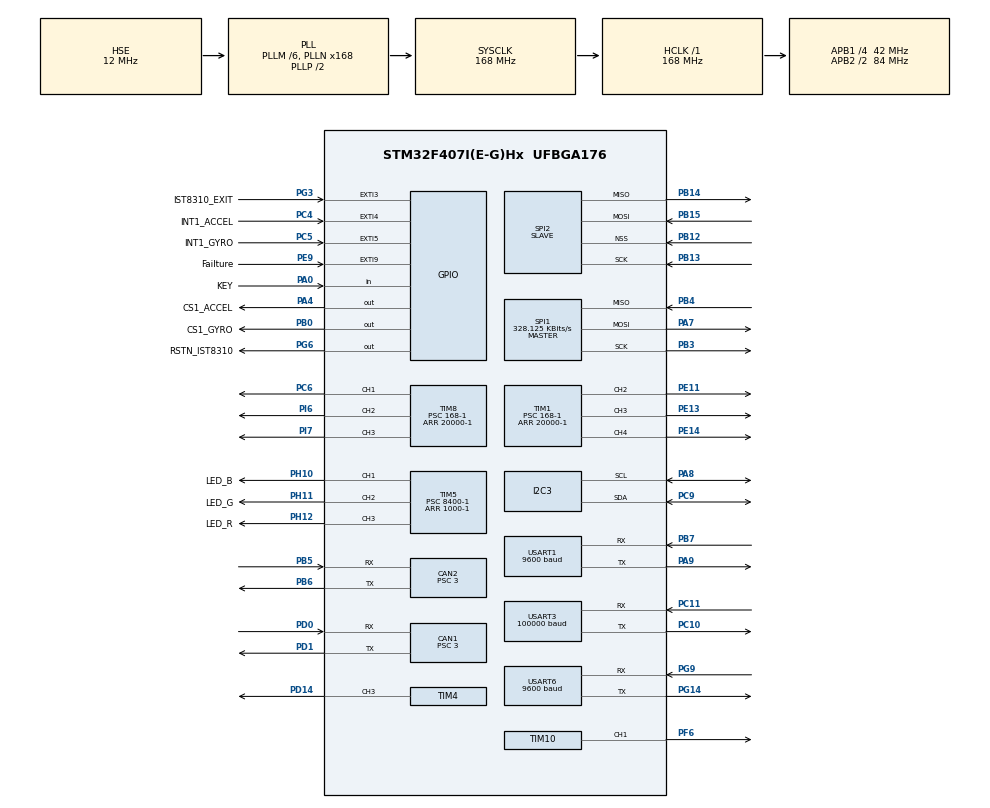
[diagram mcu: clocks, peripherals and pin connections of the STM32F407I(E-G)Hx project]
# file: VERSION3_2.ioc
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CAN1.BS1=CAN_BS1_10TQ
CAN1.BS2=CAN_BS2_3TQ
CAN1.CalculateBaudRate=1000000
CAN1.CalculateTimeBit=1000
CAN1.CalculateTimeQuantum=71.42857142857143
CAN1.Prescaler=3
CAN2.BS1=CAN_BS1_10TQ
CAN2.BS2=CAN_BS2_3TQ
CAN2.CalculateBaudRate=1000000
CAN2.CalculateTimeBit=1000
CAN2.CalculateTimeQuantum=71.42857142857143
CAN2.Prescaler=3
Dma.Request0=SPI1_RX
Dma.Request1=SPI1_TX
Dma.Request2=USART6_RX
Dma.Request3=USART6_TX
Dma.Request4=USART1_RX
Dma.Request5=USART1_TX
Dma.Request6=USART3_RX
Dma.SPI1_RX.0.Direction=DMA_PERIPH_TO_MEMORY
Dma.SPI1_RX.0.FIFOMode=DMA_FIFOMODE_DISABLE
Dma.SPI1_RX.0.Instance=DMA2_Stream2
Dma.SPI1_RX.0.MemDataAlignment=DMA_MDATAALIGN_BYTE
Dma.SPI1_RX.0.MemInc=DMA_MINC_ENABLE
Dma.SPI1_RX.0.Mode=DMA_NORMAL
Dma.SPI1_RX.0.PeriphDataAlignment=DMA_PDATAALIGN_BYTE
Dma.SPI1_RX.0.PeriphInc=DMA_PINC_DISABLE
Dma.SPI1_RX.0.Priority=DMA_PRIORITY_VERY_HIGH
Dma.SPI1_TX.1.Direction=DMA_MEMORY_TO_PERIPH
Dma.SPI1_TX.1.FIFOMode=DMA_FIFOMODE_DISABLE
Dma.SPI1_TX.1.Instance=DMA2_Stream3
Dma.SPI1_TX.1.MemDataAlignment=DMA_MDATAALIGN_BYTE
Dma.SPI1_TX.1.MemInc=DMA_MINC_ENABLE
Dma.SPI1_TX.1.Mode=DMA_NORMAL
Dma.SPI1_TX.1.PeriphDataAlignment=DMA_PDATAALIGN_BYTE
Dma.SPI1_TX.1.PeriphInc=DMA_PINC_DISABLE
Dma.SPI1_TX.1.Priority=DMA_PRIORITY_HIGH
Dma.USART1_RX.4.Direction=DMA_PERIPH_TO_MEMORY
Dma.USART1_RX.4.FIFOMode=DMA_FIFOMODE_DISABLE
Dma.USART1_RX.4.Instance=DMA2_Stream5
Dma.USART1_RX.4.MemDataAlignment=DMA_MDATAALIGN_BYTE
Dma.USART1_RX.4.MemInc=DMA_MINC_ENABLE
Dma.USART1_RX.4.Mode=DMA_NORMAL
Dma.USART1_RX.4.PeriphDataAlignment=DMA_PDATAALIGN_BYTE
Dma.USART1_RX.4.PeriphInc=DMA_PINC_DISABLE
Dma.USART1_RX.4.Priority=DMA_PRIORITY_LOW
Dma.USART1_TX.5.Direction=DMA_MEMORY_TO_PERIPH
Dma.USART1_TX.5.FIFOMode=DMA_FIFOMODE_DISABLE
Dma.USART1_TX.5.Instance=DMA2_Stream7
Dma.USART1_TX.5.MemDataAlignment=DMA_MDATAALIGN_BYTE
Dma.USART1_TX.5.MemInc=DMA_MINC_ENABLE
Dma.USART1_TX.5.Mode=DMA_NORMAL
Dma.USART1_TX.5.PeriphDataAlignment=DMA_PDATAALIGN_BYTE
Dma.USART1_TX.5.PeriphInc=DMA_PINC_DISABLE
Dma.USART1_TX.5.Priority=DMA_PRIORITY_LOW
Dma.USART3_RX.6.Direction=DMA_PERIPH_TO_MEMORY
Dma.USART3_RX.6.FIFOMode=DMA_FIFOMODE_DISABLE
Dma.USART3_RX.6.Instance=DMA1_Stream1
Dma.USART3_RX.6.MemDataAlignment=DMA_MDATAALIGN_BYTE
Dma.USART3_RX.6.MemInc=DMA_MINC_ENABLE
Dma.USART3_RX.6.Mode=DMA_NORMAL
Dma.USART3_RX.6.PeriphDataAlignment=DMA_PDATAALIGN_BYTE
Dma.USART3_RX.6.PeriphInc=DMA_PINC_DISABLE
Dma.USART3_RX.6.Priority=DMA_PRIORITY_HIGH
Dma.USART6_RX.2.Direction=DMA_PERIPH_TO_MEMORY
Dma.USART6_RX.2.FIFOMode=DMA_FIFOMODE_DISABLE
Dma.USART6_RX.2.Instance=DMA2_Stream1
Dma.USART6_RX.2.MemDataAlignment=DMA_MDATAALIGN_BYTE
Dma.USART6_RX.2.MemInc=DMA_MINC_ENABLE
Dma.USART6_RX.2.Mode=DMA_NORMAL
Dma.USART6_RX.2.PeriphDataAlignment=DMA_PDATAALIGN_BYTE
Dma.USART6_RX.2.PeriphInc=DMA_PINC_DISABLE
Dma.USART6_RX.2.Priority=DMA_PRIORITY_LOW
Dma.USART6_TX.3.Direction=DMA_MEMORY_TO_PERIPH
Dma.USART6_TX.3.FIFOMode=DMA_FIFOMODE_DISABLE
Dma.USART6_TX.3.Instance=DMA2_Stream6
Dma.USART6_TX.3.MemDataAlignment=DMA_MDATAALIGN_BYTE
Dma.USART6_TX.3.MemInc=DMA_MINC_ENABLE
Dma.USART6_TX.3.Mode=DMA_NORMAL
Dma.USART6_TX.3.PeriphDataAlignment=DMA_PDATAALIGN_BYTE
Dma.USART6_TX.3.PeriphInc=DMA_PINC_DISABLE
Dma.USART6_TX.3.Priority=DMA_PRIORITY_LOW
FREERTOS.INCLUDE_eTaskGetState=1
FREERTOS.INCLUDE_pcTaskGetTaskName=1
FREERTOS.INCLUDE_uxTaskGetStackHighWaterMark=1
FREERTOS.INCLUDE_uxTaskGetStackHighWaterMark2=1
FREERTOS.INCLUDE_vTaskCleanUpResources=1
FREERTOS.INCLUDE_vTaskDelayUntil=1
FREERTOS.INCLUDE_xEventGroupSetBitFromISR=1
FREERTOS.INCLUDE_xQueueGetMutexHolder=1
FREERTOS.INCLUDE_xSemaphoreGetMutexHolder=1
FREERTOS.INCLUDE_xTaskAbortDelay=1
FREERTOS.INCLUDE_xTaskGetCurrentTaskHandle=1
FREERTOS.INCLUDE_xTaskGetHandle=1
FREERTOS.INCLUDE_xTimerPendFunctionCall=1
FREERTOS.Tasks01=test,0,512,test_task,As weak,NULL,Dynamic,NULL,NULL;line_detect,0,512,line_detect_task,As weak,NULL,Dynamic,NULL,NULL;Order,3,512,OrderTask,As weak,NULL,Dynamic,NULL,NULL
FREERTOS.configENABLE_FPU=1
FREERTOS.configTOTAL_HEAP_SIZE=24576
I2C3.I2C_Mode=I2C_Fast
Mcu.Family=STM32F4
Mcu.Name=STM32F407I(E-G)Hx
Mcu.Package=UFBGA176
NVIC.CAN1_RX0_IRQn=true\:5\:0\:true\:false\:true\:true\:true\:true\:true
NVIC.CAN2_RX0_IRQn=true\:5\:0\:false\:false\:true\:true\:true\:true\:true
NVIC.DMA1_Stream1_IRQn=true\:5\:0\:false\:false\:true\:true\:false\:true\:true
NVIC.DMA2_Stream1_IRQn=true\:5\:0\:false\:false\:true\:true\:false\:true\:true
NVIC.DMA2_Stream2_IRQn=true\:5\:0\:true\:false\:false\:true\:false\:true\:true
NVIC.DMA2_Stream3_IRQn=true\:5\:0\:true\:false\:false\:true\:false\:true\:true
NVIC.DMA2_Stream5_IRQn=true\:5\:0\:false\:false\:true\:true\:false\:true\:true
NVIC.DMA2_Stream6_IRQn=true\:5\:0\:false\:false\:true\:true\:false\:true\:true
NVIC.DMA2_Stream7_IRQn=true\:5\:0\:false\:false\:true\:true\:false\:true\:true
NVIC.EXTI3_IRQn=true\:5\:0\:false\:false\:true\:true\:true\:true\:true
NVIC.EXTI4_IRQn=true\:5\:0\:false\:false\:true\:true\:true\:true\:true
NVIC.EXTI9_5_IRQn=true\:5\:0\:false\:false\:true\:true\:true\:true\:true
NVIC.PriorityGroup=NVIC_PRIORITYGROUP_4
NVIC.SPI2_IRQn=true\:5\:0\:false\:false\:true\:true\:true\:true\:true
NVIC.TIM6_DAC_IRQn=true\:15\:0\:false\:false\:true\:false\:false\:true\:true
NVIC.TIM7_IRQn=true\:5\:0\:false\:false\:true\:true\:true\:true\:true
NVIC.TimeBase=TIM6_DAC_IRQn
NVIC.TimeBaseIP=TIM6
NVIC.USART1_IRQn=true\:5\:0\:false\:false\:true\:true\:true\:true\:true
NVIC.USART3_IRQn=true\:5\:0\:false\:false\:true\:true\:true\:true\:true
NVIC.USART6_IRQn=true\:5\:0\:false\:false\:true\:true\:true\:true\:true
PA0-WKUP.GPIO_Label=KEY
PA0-WKUP.GPIO_PuPd=GPIO_PULLUP
PA0-WKUP.Signal=GPIO_Input
PA13.Mode=Serial_Wire
PA13.Signal=SYS_JTMS-SWDIO
PA14.Mode=Serial_Wire
PA14.Signal=SYS_JTCK-SWCLK
PA4.GPIO_Label=CS1_ACCEL
PA4.GPIO_PuPd=GPIO_PULLUP
PA4.GPIO_Speed=GPIO_SPEED_FREQ_HIGH
PA4.PinState=GPIO_PIN_SET
PA4.Signal=GPIO_Output
PA7.GPIO_PuPd=GPIO_PULLUP
PA7.Mode=Full_Duplex_Master
PA7.Signal=SPI1_MOSI
PA8.GPIO_Pu=GPIO_PULLUP
PA8.Mode=I2C
PA8.Signal=I2C3_SCL
PA9.Mode=Asynchronous
PA9.Signal=USART1_TX
PB0.GPIO_Label=CS1_GYRO
PB0.GPIO_PuPd=GPIO_PULLUP
PB0.GPIO_Speed=GPIO_SPEED_FREQ_HIGH
PB0.PinState=GPIO_PIN_SET
PB0.Signal=GPIO_Output
PB12.Mode=NSS_Signal_Hard_Input
PB12.Signal=SPI2_NSS
PB13.GPIO_PuPd=GPIO_PULLUP
PB13.Mode=Full_Duplex_Slave
PB13.Signal=SPI2_SCK
PB14.GPIO_PuPd=GPIO_PULLUP
PB14.Mode=Full_Duplex_Slave
PB14.Signal=SPI2_MISO
PB15.GPIO_PuPd=GPIO_PULLUP
PB15.Mode=Full_Duplex_Slave
PB15.Signal=SPI2_MOSI
PB3.GPIO_PuPd=GPIO_PULLUP
PB3.Mode=Full_Duplex_Master
PB3.Signal=SPI1_SCK
PB4.GPIO_PuPd=GPIO_PULLUP
PB4.Mode=Full_Duplex_Master
PB4.Signal=SPI1_MISO
PB5.Mode=CAN_Activate
PB5.Signal=CAN2_RX
PB6.Mode=CAN_Activate
PB6.Signal=CAN2_TX
PB7.Mode=Asynchronous
PB7.Signal=USART1_RX
PC10.Mode=Asynchronous
PC10.Signal=USART3_TX
PC11.Mode=Asynchronous
PC11.Signal=USART3_RX
PC4.GPIO_Label=INT1_ACCEL
PC4.GPIO_ModeDefaultEXTI=GPIO_MODE_IT_FALLING
PC4.GPIO_PuPd=GPIO_PULLUP
PC4.Signal=GPXTI4
PC5.GPIO_Label=INT1_GYRO
PC5.GPIO_ModeDefaultEXTI=GPIO_MODE_IT_FALLING
PC5.GPIO_PuPd=GPIO_PULLUP
PC5.Signal=GPXTI5
PC6.Signal=S_TIM8_CH1
PC9.GPIO_Pu=GPIO_PULLUP
PC9.Mode=I2C
PC9.Signal=I2C3_SDA
PD0.Mode=CAN_Activate
PD0.Signal=CAN1_RX
PD1.Mode=CAN_Activate
PD1.Signal=CAN1_TX
PD14.Signal=S_TIM4_CH3
PE11.Signal=S_TIM1_CH2
PE13.Signal=S_TIM1_CH3
PE14.Signal=S_TIM1_CH4
PE9.GPIO_Label=Failture
PE9.GPIO_ModeDefaultEXTI=GPIO_MODE_IT_FALLING
PE9.GPIO_PuPd=GPIO_PULLUP
PE9.Signal=GPXTI9
PF6.GPIO_PuPd=GPIO_PULLUP
PF6.GPIO_Speed=GPIO_SPEED_FREQ_HIGH
PF6.Signal=S_TIM10_CH1
PG14.Mode=Asynchronous
PG14.Signal=USART6_TX
PG3.GPIO_Label=IST8310_EXIT
PG3.GPIO_ModeDefaultEXTI=GPIO_MODE_IT_RISING
PG3.GPIO_PuPd=GPIO_PULLDOWN
PG3.Signal=GPXTI3
PG6.GPIO_Label=RSTN_IST8310
PG6.GPIO_PuPd=GPIO_PULLUP
PG6.GPIO_Speed=GPIO_SPEED_FREQ_MEDIUM
PG6.PinState=GPIO_PIN_SET
PG6.Signal=GPIO_Output
PG9.Mode=Asynchronous
PG9.Signal=USART6_RX
PH0-OSC_IN.Mode=HSE-External-Oscillator
PH0-OSC_IN.Signal=RCC_OSC_IN
PH1-OSC_OUT.Mode=HSE-External-Oscillator
PH1-OSC_OUT.Signal=RCC_OSC_OUT
PH10.GPIO_Label=LED_B
PH10.Signal=S_TIM5_CH1
PH11.GPIO_Label=LED_G
PH11.GPIO_PuPd=GPIO_PULLUP
PH11.GPIO_Speed=GPIO_SPEED_FREQ_HIGH
PH11.Signal=S_TIM5_CH2
PH12.GPIO_Label=LED_R
PH12.GPIO_PuPd=GPIO_PULLUP
PH12.GPIO_Speed=GPIO_SPEED_FREQ_HIGH
PH12.Signal=S_TIM5_CH3
PI6.GPIO_PuPd=GPIO_PULLDOWN
PI6.Signal=S_TIM8_CH2
PI7.GPIO_PuPd=GPIO_PULLDOWN
PI7.Signal=S_TIM8_CH3
ProjectManager.HeapSize=0x2000
ProjectManager.StackSize=0x2000
ProjectManager.TargetToolchain=MDK-ARM V5.32
RCC.48MHZClocksFreq_Value=48000000
RCC.AHBFreq_Value=168000000
RCC.APB1CLKDivider=RCC_HCLK_DIV4
RCC.APB1Freq_Value=42000000
RCC.APB1TimFreq_Value=84000000
RCC.APB2CLKDivider=RCC_HCLK_DIV2
RCC.APB2Freq_Value=84000000
RCC.APB2TimFreq_Value=168000000
RCC.CortexFreq_Value=168000000
RCC.HCLKFreq_Value=168000000
RCC.HSE_VALUE=12000000
RCC.HSI_VALUE=16000000
RCC.LSE_VALUE=32768
RCC.PLLM=6
RCC.PLLN=168
RCC.PLLQ=7
RCC.PLLSourceVirtual=RCC_PLLSOURCE_HSE
RCC.RCC_RTC_Clock_SourceVirtual=RCC_RTCCLKSOURCE_HSE_DIV30
RCC.RCC_RTC_Clock_Source_FROM_HSE=RCC_RTCCLKSOURCE_HSE_DIV30
RCC.SYSCLKFreq_VALUE=168000000
RCC.SYSCLKSource=RCC_SYSCLKSOURCE_PLLCLK
RCC.VCOOutputFreq_Value=336000000
SH.S_TIM10_CH1.0=TIM10_CH1,PWM Generation1 CH1
SH.S_TIM1_CH2.0=TIM1_CH2,PWM Generation2 CH2
SH.S_TIM1_CH3.0=TIM1_CH3,PWM Generation3 CH3
SH.S_TIM1_CH4.0=TIM1_CH4,PWM Generation4 CH4
SH.S_TIM4_CH3.0=TIM4_CH3,PWM Generation3 CH3
SH.S_TIM5_CH1.0=TIM5_CH1,PWM Generation1 CH1
SH.S_TIM5_CH2.0=TIM5_CH2,PWM Generation2 CH2
SH.S_TIM5_CH3.0=TIM5_CH3,PWM Generation3 CH3
SH.S_TIM8_CH1.0=TIM8_CH1,PWM Generation1 CH1
SH.S_TIM8_CH2.0=TIM8_CH2,PWM Generation2 CH2
SH.S_TIM8_CH3.0=TIM8_CH3,PWM Generation3 CH3
SPI1.BaudRatePrescaler=SPI_BAUDRATEPRESCALER_256
SPI1.CLKPhase=SPI_PHASE_2EDGE
SPI1.CLKPolarity=SPI_POLARITY_HIGH
SPI1.CalculateBaudRate=328.125 KBits/s
SPI1.Direction=SPI_DIRECTION_2LINES
SPI1.Mode=SPI_MODE_MASTER
SPI1.VirtualType=VM_MASTER
SPI2.Direction=SPI_DIRECTION_2LINES
SPI2.Mode=SPI_MODE_SLAVE
SPI2.VirtualNSS=VM_NSSHARD
SPI2.VirtualType=VM_SLAVE
TIM1.AutoReloadPreload=TIM_AUTORELOAD_PRELOAD_ENABLE
TIM1.Channel-PWM\ Generation2\ CH2=TIM_CHANNEL_2
TIM1.Channel-PWM\ Generation3\ CH3=TIM_CHANNEL_3
TIM1.Channel-PWM\ Generation4\ CH4=TIM_CHANNEL_4
TIM1.OCFastMode_PWM-PWM\ Generation3\ CH3=TIM_OCFAST_ENABLE
TIM1.OCMode_PWM-PWM\ Generation3\ CH3=TIM_OCMODE_PWM1
TIM1.Period=20000-1
TIM1.Prescaler=168-1
TIM1.Pulse-PWM\ Generation2\ CH2=1300
TIM1.Pulse-PWM\ Generation3\ CH3=1500
TIM1.Pulse-PWM\ Generation4\ CH4=2500
TIM10.Channel=TIM_CHANNEL_1
TIM10.Period=4999
TIM4.Channel-PWM\ Generation3\ CH3=TIM_CHANNEL_3
TIM5.Channel-PWM\ Generation1\ CH1=TIM_CHANNEL_1
TIM5.Channel-PWM\ Generation2\ CH2=TIM_CHANNEL_2
TIM5.Channel-PWM\ Generation3\ CH3=TIM_CHANNEL_3
TIM5.Period=1000-1
TIM5.Prescaler=8400-1
TIM7.AutoReloadPreload=TIM_AUTORELOAD_PRELOAD_ENABLE
TIM7.Period=2500-1
TIM7.Prescaler=84-1
TIM8.AutoReloadPreload=TIM_AUTORELOAD_PRELOAD_ENABLE
TIM8.Channel-PWM\ Generation1\ CH1=TIM_CHANNEL_1
TIM8.Channel-PWM\ Generation2\ CH2=TIM_CHANNEL_2
TIM8.Channel-PWM\ Generation3\ CH3=TIM_CHANNEL_3
TIM8.Period=20000-1
TIM8.Prescaler=168-1
TIM8.Pulse-PWM\ Generation2\ CH2=500
TIM8.Pulse-PWM\ Generation3\ CH3=2570
USART1.BaudRate=9600
USART1.VirtualMode=VM_ASYNC
USART3.BaudRate=100000
USART3.Parity=PARITY_EVEN
USART3.StopBits=STOPBITS_2
USART3.VirtualMode=VM_ASYNC
USART3.WordLength=WORDLENGTH_9B
USART6.BaudRate=9600
USART6.VirtualMode=VM_ASYNC
VP_CRC_VS_CRC.Mode=CRC_Activate
VP_FREERTOS_VS_CMSIS_V1.Mode=CMSIS_V1
VP_RNG_VS_RNG.Mode=RNG_Activate
VP_SYS_VS_tim6.Mode=TIM6
VP_TIM10_VS_ClockSourceINT.Mode=Enable_Timer
VP_TIM1_VS_ClockSourceINT.Mode=Internal
VP_TIM4_VS_ClockSourceINT.Mode=Internal
VP_TIM5_VS_ClockSourceINT.Mode=Internal
VP_TIM7_VS_ClockSourceINT.Mode=Enable_Timer
VP_TIM8_VS_ClockSourceINT.Mode=Internal
board=custom

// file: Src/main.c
/* USER CODE BEGIN Header */
/**
  ******************************************************************************
  * @file           : main.c
  * @brief          : Main program body
  ******************************************************************************
  * @attention
  *
  * Copyright (c) 2022 STMicroelectronics.
  * All rights reserved.
  *
  * This software is licensed under terms that can be found in the LICENSE file
  * in the root directory of this software component.
  * If no LICENSE file comes with this software, it is provided AS-IS.
  *
  ******************************************************************************
  */
/* USER CODE END Header */
#include "main.h"
#include "cmsis_os.h"
#include "can.h"
#include "crc.h"
#include "dma.h"
#include "i2c.h"
#include "rng.h"
#include "spi.h"
#include "tim.h"
#include "usart.h"
#include "gpio.h"

/* USER CODE BEGIN Includes */
#include "bsp_delay.h"
#include "bsp_can.h"
#include "Callback.h"
#include "pid.h"
#include "callback.h"
#include "door_control.h"
#include "move_func_task.h"
#include "openmv_communicate.h"

/* USER CODE END Includes */

/* USER CODE BEGIN PD */
#define sbus_using
/* USER CODE END PD */

void SystemClock_Config(void);
void MX_FREERTOS_Init(void);

int main(void)
{

  /* MCU Configuration--------------------------------------------------------*/

  /* Reset of all peripherals, Initializes the Flash interface and the Systick. */
  HAL_Init();

  /* Configure the system clock */
  SystemClock_Config();

  /* Initialize all configured peripherals */
  MX_GPIO_Init();
  MX_DMA_Init();
  MX_CAN1_Init();
  MX_SPI1_Init();
  MX_TIM5_Init();
  MX_CRC_Init();
  MX_RNG_Init();
  MX_TIM10_Init();
  MX_USART1_UART_Init();
  MX_TIM8_Init();
  MX_I2C3_Init();
  MX_SPI2_Init();
  MX_USART6_UART_Init();
  MX_TIM1_Init();
  MX_TIM4_Init();
  MX_USART3_UART_Init();
  MX_TIM7_Init();
  MX_CAN2_Init();
  /* USER CODE BEGIN 2 */
	HAL_TIM_Base_Start(&htim1);//servo 1-4
  HAL_TIM_PWM_Start(&htim1,TIM_CHANNEL_1);
	HAL_TIM_PWM_Start(&htim1,TIM_CHANNEL_2);
	HAL_TIM_PWM_Start(&htim1,TIM_CHANNEL_3);
  HAL_TIM_PWM_Start(&htim1,TIM_CHANNEL_4);

	HAL_TIM_Base_Start(&htim4);//Buzzer
	HAL_TIM_PWM_Start(&htim4,TIM_CHANNEL_3);

	HAL_TIM_Base_Start(&htim5);//LED PWM OUTPUT
	HAL_TIM_PWM_Start(&htim5,TIM_CHANNEL_1);//BLUE
	HAL_TIM_PWM_Start(&htim5,TIM_CHANNEL_2);//GREEN
	HAL_TIM_PWM_Start(&htim5,TIM_CHANNEL_3);//RED
	TIM5->CCR1=1000;

  HAL_TIM_Base_Start(&htim8);//servo 5-7
  HAL_TIM_PWM_Start(&htim8,TIM_CHANNEL_1);
  HAL_TIM_PWM_Start(&htim8,TIM_CHANNEL_2);
  HAL_TIM_PWM_Start(&htim8,TIM_CHANNEL_3);

	door_reset();//BoPian
	right_door_on();//Right door on
	left_door_on();//Right door off
	front_door_down();//Front door down
	back_door_down();//Back door down
  //rocket state

	can1_filter_init();//配置CAN1滤波;
	can2_filter_init();//配置CAN2滤波
	delay_init();//初始化delay,库代码使用，自己不使
  /* USER CODE END 2 */

  /* Call init function for freertos objects (in freertos.c) */
  MX_FREERTOS_Init();
  /* Start scheduler */
  osKernelStart();

  /* We should never get here as control is now taken by the scheduler */
  /* Infinite loop */
  while (1)
  {

  }
}

void SystemClock_Config(void)
{
  RCC_OscInitTypeDef RCC_OscInitStruct = {0};
  RCC_ClkInitTypeDef RCC_ClkInitStruct = {0};

  /** Configure the main internal regulator output voltage
  */
  __HAL_RCC_PWR_CLK_ENABLE();
  __HAL_PWR_VOLTAGESCALING_CONFIG(PWR_REGULATOR_VOLTAGE_SCALE1);
  /** Initializes the RCC Oscillators according to the specified parameters
  * in the RCC_OscInitTypeDef structure.
  */
  RCC_OscInitStruct.OscillatorType = RCC_OSCILLATORTYPE_HSE;
  RCC_OscInitStruct.HSEState = RCC_HSE_ON;
  RCC_OscInitStruct.PLL.PLLState = RCC_PLL_ON;
  RCC_OscInitStruct.PLL.PLLSource = RCC_PLLSOURCE_HSE;
  RCC_OscInitStruct.PLL.PLLM = 6;
  RCC_OscInitStruct.PLL.PLLN = 168;
  RCC_OscInitStruct.PLL.PLLP = RCC_PLLP_DIV2;
  RCC_OscInitStruct.PLL.PLLQ = 7;
  if (HAL_RCC_OscConfig(&RCC_OscInitStruct) != HAL_OK)
  {
    Error_Handler();
  }
  /** Initializes the CPU, AHB and APB buses clocks
  */
  RCC_ClkInitStruct.ClockType = RCC_CLOCKTYPE_HCLK|RCC_CLOCKTYPE_SYSCLK
                              |RCC_CLOCKTYPE_PCLK1|RCC_CLOCKTYPE_PCLK2;
  RCC_ClkInitStruct.SYSCLKSource = RCC_SYSCLKSOURCE_PLLCLK;
  RCC_ClkInitStruct.AHBCLKDivider = RCC_SYSCLK_DIV1;
  RCC_ClkInitStruct.APB1CLKDivider = RCC_HCLK_DIV4;
  RCC_ClkInitStruct.APB2CLKDivider = RCC_HCLK_DIV2;

  if (HAL_RCC_ClockConfig(&RCC_ClkInitStruct, FLASH_LATENCY_5) != HAL_OK)
  {
    Error_Handler();
  }
}

void HAL_TIM_PeriodElapsedCallback(TIM_HandleTypeDef *htim)
{
  if (htim->Instance == TIM6) {
    HAL_IncTick();
  }
  /* USER CODE BEGIN Callback 1 */
  else if(htim->Instance == TIM7){
		move_pid_calc();
	}
  /* USER CODE END Callback 1 */
}

void Error_Handler(void)
{
  __disable_irq();
  while (1)
  {
  }
}

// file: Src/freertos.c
/* USER CODE BEGIN Header */
/**
  ******************************************************************************
  * File Name          : freertos.c
  * Description        : Code for freertos applications
  ******************************************************************************
  * @attention
  *
  * Copyright (c) 2022 STMicroelectronics.
  * All rights reserved.
  *
  * This software is licensed under terms that can be found in the LICENSE file
  * in the root directory of this software component.
  * If no LICENSE file comes with this software, it is provided AS-IS.
  *
  ******************************************************************************
  */
/* USER CODE END Header */

#include "FreeRTOS.h"
#include "task.h"
#include "main.h"
#include "cmsis_os.h"

osThreadId testHandle;
osThreadId line_detectHandle;
osThreadId OrderHandle;

void test_task(void const * argument);
void line_detect_task(void const * argument);
void OrderTask(void const * argument);

void MX_FREERTOS_Init(void); /* (MISRA C 2004 rule 8.1) */

/* GetIdleTaskMemory prototype (linked to static allocation support) */
void vApplicationGetIdleTaskMemory( StaticTask_t **ppxIdleTaskTCBBuffer, StackType_t **ppxIdleTaskStackBuffer, uint32_t *pulIdleTaskStackSize );

/* GetTimerTaskMemory prototype (linked to static allocation support) */
void vApplicationGetTimerTaskMemory( StaticTask_t **ppxTimerTaskTCBBuffer, StackType_t **ppxTimerTaskStackBuffer, uint32_t *pulTimerTaskStackSize );

/* USER CODE BEGIN GET_IDLE_TASK_MEMORY */
static StaticTask_t xIdleTaskTCBBuffer;
static StackType_t xIdleStack[configMINIMAL_STACK_SIZE];

void vApplicationGetIdleTaskMemory( StaticTask_t **ppxIdleTaskTCBBuffer, StackType_t **ppxIdleTaskStackBuffer, uint32_t *pulIdleTaskStackSize )
{
  *ppxIdleTaskTCBBuffer = &xIdleTaskTCBBuffer;
  *ppxIdleTaskStackBuffer = &xIdleStack[0];
  *pulIdleTaskStackSize = configMINIMAL_STACK_SIZE;
  /* place for user code */
}
/* USER CODE END GET_IDLE_TASK_MEMORY */

/* USER CODE BEGIN GET_TIMER_TASK_MEMORY */
static StaticTask_t xTimerTaskTCBBuffer;
static StackType_t xTimerStack[configTIMER_TASK_STACK_DEPTH];

void vApplicationGetTimerTaskMemory( StaticTask_t **ppxTimerTaskTCBBuffer, StackType_t **ppxTimerTaskStackBuffer, uint32_t *pulTimerTaskStackSize )
{
  *ppxTimerTaskTCBBuffer = &xTimerTaskTCBBuffer;
  *ppxTimerTaskStackBuffer = &xTimerStack[0];
  *pulTimerTaskStackSize = configTIMER_TASK_STACK_DEPTH;
  /* place for user code */
}
/* USER CODE END GET_TIMER_TASK_MEMORY */

void MX_FREERTOS_Init(void) {

  /* Create the thread(s) */
  /* definition and creation of test */
  osThreadDef(test, test_task, osPriorityNormal, 0, 512);
  testHandle = osThreadCreate(osThread(test), NULL);

  /* definition and creation of line_detect */
  osThreadDef(line_detect, line_detect_task, osPriorityNormal, 0, 512);
  line_detectHandle = osThreadCreate(osThread(line_detect), NULL);

  /* definition and creation of Order */
  osThreadDef(Order, OrderTask, osPriorityRealtime, 0, 512);
  OrderHandle = osThreadCreate(osThread(Order), NULL);

}

__weak void test_task(void const * argument)
{
  for(;;)
  {
    osDelay(1);
  }
}

__weak void line_detect_task(void const * argument)
{
  for(;;)
  {
    osDelay(1);
  }
}

__weak void OrderTask(void const * argument)
{
  for(;;)
  {
    osDelay(1);
  }
}
